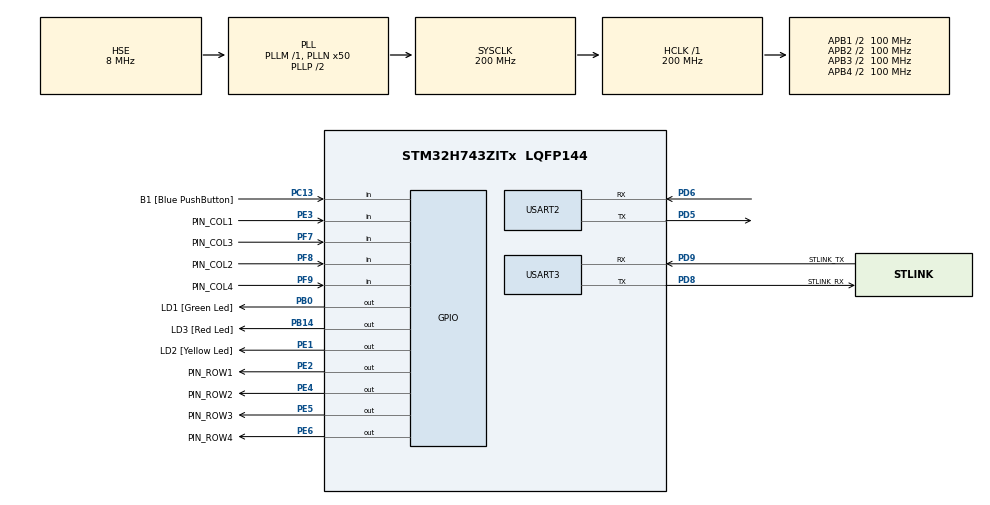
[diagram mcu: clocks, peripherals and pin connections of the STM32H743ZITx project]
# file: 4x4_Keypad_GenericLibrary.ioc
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Mcu.Family=STM32H7
Mcu.Name=STM32H743ZITx
Mcu.Package=LQFP144
NVIC.PriorityGroup=NVIC_PRIORITYGROUP_4
NVIC.TIM17_IRQn=true\:0\:0\:false\:false\:true\:true\:true\:true
PB0.GPIO_Label=LD1 [Green Led]
PB0.Signal=GPIO_Output
PB14.GPIO_Label=LD3 [Red Led]
PB14.Signal=GPIO_Output
PC13.GPIO_Label=B1 [Blue PushButton]
PC13.Signal=GPIO_Input
PD5.Mode=Asynchronous
PD5.Signal=USART2_TX
PD6.Mode=Asynchronous
PD6.Signal=USART2_RX
PD8.GPIO_Label=STLINK_RX
PD8.Mode=Asynchronous
PD8.Signal=USART3_TX
PD9.GPIO_Label=STLINK_TX
PD9.Mode=Asynchronous
PD9.Signal=USART3_RX
PE1.GPIO_Label=LD2 [Yellow Led]
PE1.Signal=GPIO_Output
PE2.GPIO_Label=PIN_ROW1
PE2.Signal=GPIO_Output
PE3.GPIO_Label=PIN_COL1
PE3.GPIO_PuPd=GPIO_PULLDOWN
PE3.Signal=GPIO_Input
PE4.GPIO_Label=PIN_ROW2
PE4.Signal=GPIO_Output
PE5.GPIO_Label=PIN_ROW3
PE5.Signal=GPIO_Output
PE6.GPIO_Label=PIN_ROW4
PE6.Signal=GPIO_Output
PF7.GPIO_Label=PIN_COL3
PF7.GPIO_PuPd=GPIO_PULLDOWN
PF7.Signal=GPIO_Input
PF8.GPIO_Label=PIN_COL2
PF8.GPIO_PuPd=GPIO_PULLDOWN
PF8.Signal=GPIO_Input
PF9.GPIO_Label=PIN_COL4
PF9.GPIO_PuPd=GPIO_PULLDOWN
PF9.Signal=GPIO_Input
PH0-OSC_IN\ (PH0).Mode=HSE-External-Oscillator
PH0-OSC_IN\ (PH0).Signal=RCC_OSC_IN
PH1-OSC_OUT\ (PH1).Mode=HSE-External-Oscillator
PH1-OSC_OUT\ (PH1).Signal=RCC_OSC_OUT
ProjectManager.HeapSize=0x200
ProjectManager.StackSize=0x400
ProjectManager.TargetToolchain=STM32CubeIDE
RCC.ADCFreq_Value=16125000
RCC.APB1Freq_Value=100000000
RCC.APB2Freq_Value=100000000
RCC.APB3Freq_Value=100000000
RCC.APB4Freq_Value=100000000
RCC.CortexFreq_Value=200000000
RCC.D1PPRE=RCC_APB3_DIV2
RCC.D2PPRE1=RCC_APB1_DIV2
RCC.D2PPRE2=RCC_APB2_DIV2
RCC.D3PPRE=RCC_APB4_DIV2
RCC.DIVM1=1
RCC.DIVN1=50
RCC.DIVQ1=4
RCC.HCLKFreq_Value=200000000
RCC.HSE_VALUE=8000000
RCC.PLLFRACN=0
RCC.PLLSourceVirtual=RCC_PLLSOURCE_HSE
RCC.PWR_Regulator_Voltage_Scale=PWR_REGULATOR_VOLTAGE_SCALE1
RCC.SYSCLKFreq_VALUE=200000000
RCC.SYSCLKSource=RCC_SYSCLKSOURCE_PLLCLK
RCC.USBFreq_Value=100000000
USART2.VirtualMode-Asynchronous=VM_ASYNC
USART3.VirtualMode-Asynchronous=VM_ASYNC
VP_TIM17_VS_ClockSourceINT.Mode=Enable_Timer
board=NUCLEO-H743ZI2

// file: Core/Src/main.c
/* USER CODE BEGIN Header */
/**
 ******************************************************************************
 * @file           : main.c
 * @brief          : Main program body
 ******************************************************************************
 * @attention
 *
 * Copyright (c) 2022 STMicroelectronics.
 * All rights reserved.
 *
 * This software is licensed under terms that can be found in the LICENSE file
 * in the root directory of this software component.
 * If no LICENSE file comes with this software, it is provided AS-IS.
 *
 ******************************************************************************
 */
/* USER CODE END Header */
#include "main.h"
#include "tim.h"
#include "usart.h"
#include "gpio.h"

/* USER CODE BEGIN Includes */
#include <stdio.h>
#include <string.h>

#include "../../keypad/inc/keypad.h"
#include "../../keypad/inc/keypad_gpio_impl.h"

/* USER CODE END Includes */

/* USER CODE BEGIN PD */

#define KEYPAD_COLUMN_SIZE (4U)
#define KEYPAD_ROW_SIZE    (4U)

/* USER CODE END PD */

/* USER CODE BEGIN PV */

SKeypad tKeypad;
SKey tKey[KEYPAD_ROW_SIZE * KEYPAD_COLUMN_SIZE];

/* USER CODE END PV */

void SystemClock_Config(void);

/* USER CODE BEGIN 0 */
void keyEventCallback(SKeypad* ptKeypad, EKeyState eKeyState, uint8_t u8KeyChar)
{
	char msg[50];
	if(ptKeypad == &tKeypad)
	{
		switch (eKeyState) {
			case KEY_PRESSED:
				snprintf((char*)msg, 100, "Pressed the %c key\n", (char)u8KeyChar);
				HAL_UART_Transmit(&huart2, (uint8_t*)msg, strlen(msg), 100);
				break;
			case KEY_RELEASED:
				snprintf((char*)msg, 100, "Released the %c key\n", (char)u8KeyChar);
				HAL_UART_Transmit(&huart2, (uint8_t*)msg, strlen(msg), 100);
				break;
			case KEY_HOLD:
				snprintf((char*)msg, 100, "Hold the %c key\n", (char)u8KeyChar);
				HAL_UART_Transmit(&huart2, (uint8_t*)msg, strlen(msg), 100);
				break;
			case KEY_CLICKED:
				snprintf((char*)msg, 100, "Clicked the %c key\n", (char)u8KeyChar);
				HAL_UART_Transmit(&huart2, (uint8_t*)msg, strlen(msg), 100);
				break;
			default:

				break;
		}
	}
}

/* USER CODE END 0 */

int main(void)
{

  /* MCU Configuration--------------------------------------------------------*/

  /* Reset of all peripherals, Initializes the Flash interface and the Systick. */
  HAL_Init();

  /* Configure the system clock */
  SystemClock_Config();

  /* Initialize all configured peripherals */
  MX_GPIO_Init();
  MX_USART3_UART_Init();
  MX_TIM17_Init();
  MX_USART2_UART_Init();
  /* USER CODE BEGIN 2 */

  SKeyGPIO tKeypadColumnPort[KEYPAD_COLUMN_SIZE] = {
	{
		.vpGpioPort = GPIOE,
		.u16GpioPin = GPIO_PIN_3,
		.eGpioContactType = IO_NORMALLY_OPEN,
	},
	{
		.vpGpioPort = GPIOF,
		.u16GpioPin = GPIO_PIN_8,
		.eGpioContactType = IO_NORMALLY_OPEN,
	},
	{
		.vpGpioPort = GPIOF,
		.u16GpioPin = GPIO_PIN_7,
		.eGpioContactType = IO_NORMALLY_OPEN,
	},
	{
		.vpGpioPort = GPIOF,
		.u16GpioPin = GPIO_PIN_9,
		.eGpioContactType = IO_NORMALLY_OPEN,
	}
  };

  SKeyGPIO tKeypadRowPort[KEYPAD_ROW_SIZE] = {
	{
		.vpGpioPort = GPIOE,
		.u16GpioPin = GPIO_PIN_2,
		.eGpioContactType = IO_NORMALLY_OPEN,
	},
	{
		.vpGpioPort = GPIOE,
		.u16GpioPin = GPIO_PIN_4,
		.eGpioContactType = IO_NORMALLY_OPEN,
	},
	{
		.vpGpioPort = GPIOE,
		.u16GpioPin = GPIO_PIN_5,
		.eGpioContactType = IO_NORMALLY_OPEN,
	},
	{
		.vpGpioPort = GPIOE,
		.u16GpioPin = GPIO_PIN_6,
		.eGpioContactType = IO_NORMALLY_OPEN,
	}
  };

  SKeypadIO tKeypadIO = {
	.ioColumn = tKeypadColumnPort,
	.ioRow = tKeypadRowPort,
	.gpioRead = gpio_read,
	.gpioWrite = gpio_write,
	.gpioOutput = gpio_setPinOutput,
	.gpioInput = gpio_setPinInput,
  };

  uint8_t u8KeyMap[KEYPAD_ROW_SIZE][KEYPAD_COLUMN_SIZE] =
  {
	{'1', '2', '3', 'A'},
	{'4', '5', '6', 'B'},
	{'7', '8', '9', 'C'},
	{'*', '0', '#', 'D'},
  };

  tKeypad.tKey = tKey;
  tKeypad.tKeypadIO = &tKeypadIO;
  tKeypad.u8KeyMap = (uint8_t*)u8KeyMap;

  keypad_init(&tKeypad, KEYPAD_ROW_SIZE, KEYPAD_COLUMN_SIZE);
  keypad_addEventCallback(&tKeypad, keyEventCallback);

  /* USER CODE END 2 */

  /* Infinite loop */
  /* USER CODE BEGIN WHILE */
	while (1) {

		keypad_scan(&tKeypad, HAL_GetTick());

    /* USER CODE END WHILE */

	}
}

void SystemClock_Config(void)
{
  RCC_OscInitTypeDef RCC_OscInitStruct = {0};
  RCC_ClkInitTypeDef RCC_ClkInitStruct = {0};

  /** Supply configuration update enable
  */
  HAL_PWREx_ConfigSupply(PWR_LDO_SUPPLY);

  /** Configure the main internal regulator output voltage
  */
  __HAL_PWR_VOLTAGESCALING_CONFIG(PWR_REGULATOR_VOLTAGE_SCALE1);

  while(!__HAL_PWR_GET_FLAG(PWR_FLAG_VOSRDY)) {}

  /** Initializes the RCC Oscillators according to the specified parameters
  * in the RCC_OscInitTypeDef structure.
  */
  RCC_OscInitStruct.OscillatorType = RCC_OSCILLATORTYPE_HSE;
  RCC_OscInitStruct.HSEState = RCC_HSE_ON;
  RCC_OscInitStruct.PLL.PLLState = RCC_PLL_ON;
  RCC_OscInitStruct.PLL.PLLSource = RCC_PLLSOURCE_HSE;
  RCC_OscInitStruct.PLL.PLLM = 1;
  RCC_OscInitStruct.PLL.PLLN = 50;
  RCC_OscInitStruct.PLL.PLLP = 2;
  RCC_OscInitStruct.PLL.PLLQ = 4;
  RCC_OscInitStruct.PLL.PLLR = 2;
  RCC_OscInitStruct.PLL.PLLRGE = RCC_PLL1VCIRANGE_3;
  RCC_OscInitStruct.PLL.PLLVCOSEL = RCC_PLL1VCOWIDE;
  RCC_OscInitStruct.PLL.PLLFRACN = 0;
  if (HAL_RCC_OscConfig(&RCC_OscInitStruct) != HAL_OK)
  {
    Error_Handler();
  }

  /** Initializes the CPU, AHB and APB buses clocks
  */
  RCC_ClkInitStruct.ClockType = RCC_CLOCKTYPE_HCLK|RCC_CLOCKTYPE_SYSCLK
                              |RCC_CLOCKTYPE_PCLK1|RCC_CLOCKTYPE_PCLK2
                              |RCC_CLOCKTYPE_D3PCLK1|RCC_CLOCKTYPE_D1PCLK1;
  RCC_ClkInitStruct.SYSCLKSource = RCC_SYSCLKSOURCE_PLLCLK;
  RCC_ClkInitStruct.SYSCLKDivider = RCC_SYSCLK_DIV1;
  RCC_ClkInitStruct.AHBCLKDivider = RCC_HCLK_DIV1;
  RCC_ClkInitStruct.APB3CLKDivider = RCC_APB3_DIV2;
  RCC_ClkInitStruct.APB1CLKDivider = RCC_APB1_DIV2;
  RCC_ClkInitStruct.APB2CLKDivider = RCC_APB2_DIV2;
  RCC_ClkInitStruct.APB4CLKDivider = RCC_APB4_DIV2;

  if (HAL_RCC_ClockConfig(&RCC_ClkInitStruct, FLASH_LATENCY_2) != HAL_OK)
  {
    Error_Handler();
  }
}

void Error_Handler(void)
{
	__disable_irq();
	while (1) {
	}
}
